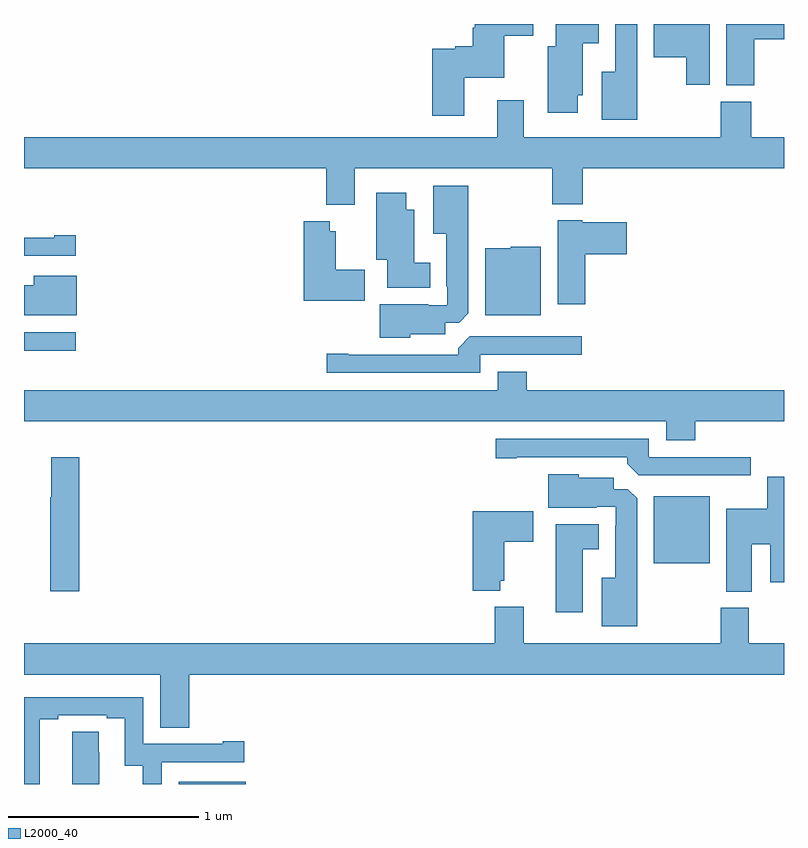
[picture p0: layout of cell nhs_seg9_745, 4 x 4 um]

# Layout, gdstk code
import gdstk
lib = gdstk.Library(unit=1e-6, precision=1e-09)
def R(c, l, rs):  # rectangles x0, y0, x1, y1
    for r in rs: c.add(gdstk.rectangle(r[:2], r[2:], *l))
def P(c, l, *ps):  # polygons
    for p in ps: c.add(gdstk.Polygon(p, *l))
L2000_40 = (2000, 40)

nhs_seg9_745 = lib.new_cell('nhs_seg9_745')
R(nhs_seg9_745, L2000_40, [(149.814,1206.5,150.166,1206.511), (152.315,1207.661,152.608,1208.014), (149,1208.781,149.272,1208.877)])
P(nhs_seg9_745, L2000_40, [(152.227,1210.5),(152.111,1210.5),(152.111,1210.249),(152.042,1210.249),(152.042,1209.995),(152.227,1209.995)],
  [(151.915,1210.125),(151.942,1210.125),(151.942,1210.4),(152.026,1210.4),(152.026,1210.5),(151.799,1210.5),(151.799,1210.384),(151.757,1210.384),(151.757,1210.032),(151.915,1210.032)],
  [(152.843,1210.42),(153,1210.42),(153,1210.5),(152.696,1210.5),(152.696,1210.177),(152.843,1210.177)],
  [(152.608,1210.5),(152.315,1210.5),(152.315,1210.325),(152.486,1210.325),(152.486,1210.179),(152.608,1210.179)],
  [(151.318,1210.217),(151.528,1210.217),(151.528,1210.438),(151.681,1210.438),(151.681,1210.5),(151.373,1210.5),(151.373,1210.481),(151.361,1210.481),(151.361,1210.382),(151.271,1210.382),(151.271,1210.369),(151.148,1210.369),(151.148,1210.017),(151.318,1210.017)],
  [(150.742,1209.74),(151.78,1209.74),(151.78,1209.551),(151.94,1209.551),(151.94,1209.74),(153,1209.74),(153,1209.904),(152.828,1209.904),(152.828,1210.092),(152.668,1210.092),(152.668,1209.904),(151.63,1209.904),(151.63,1210.099),(151.49,1210.099),(151.49,1209.904),(149,1209.904),(149,1209.74),(150.59,1209.74),(150.59,1209.548),(150.742,1209.548)],
  [(151.032,1208.867),(151.216,1208.867),(151.216,1208.928),(151.29,1208.928),(151.339,1208.977),(151.339,1209.649),(151.154,1209.649),(151.154,1209.395),(151.223,1209.395),(151.223,1209.121),(151.227,1209.121),(151.227,1209.021),(151.127,1209.021),(151.127,1209.025),(150.872,1209.025),(150.872,1208.849),(151.032,1208.849)],
  [(151.138,1209.244),(151.054,1209.244),(151.054,1209.523),(151.012,1209.523),(151.012,1209.613),(150.854,1209.613),(150.854,1209.26),(150.911,1209.26),(150.911,1209.113),(151.138,1209.113)],
  [(151.955,1209.287),(152.173,1209.287),(152.173,1209.457),(151.938,1209.457),(151.938,1209.466),(151.808,1209.466),(151.808,1209.024),(151.955,1209.024)],
  [(150.793,1209.207),(150.64,1209.207),(150.64,1209.409),(150.61,1209.409),(150.61,1209.463),(150.473,1209.463),(150.473,1209.044),(150.793,1209.044)],
  [(149.272,1209.388),(149.159,1209.388),(149.159,1209.375),(149,1209.375),(149,1209.279),(149.272,1209.279)],
  [(151.72,1209.328),(151.563,1209.328),(151.563,1209.319),(151.427,1209.319),(151.427,1208.966),(151.72,1208.966)],
  [(149.278,1209.175),(149.051,1209.175),(149.051,1209.124),(149,1209.124),(149,1208.966),(149.278,1208.966)],
  [(151.401,1208.76),(151.936,1208.76),(151.936,1208.856),(151.347,1208.856),(151.286,1208.794),(151.286,1208.76),(150.706,1208.76),(150.706,1208.765),(150.594,1208.765),(150.594,1208.664),(151.401,1208.664)],
  [(152.534,1208.408),(153,1208.408),(153,1208.572),(151.646,1208.572),(151.646,1208.671),(151.493,1208.671),(151.493,1208.572),(149,1208.572),(149,1208.408),(152.381,1208.408),(152.381,1208.309),(152.534,1208.309)],
  [(152.824,1208.22),(152.289,1208.22),(152.289,1208.316),(151.482,1208.316),(151.482,1208.215),(151.594,1208.215),(151.594,1208.22),(152.174,1208.22),(152.174,1208.186),(152.235,1208.124),(152.824,1208.124)],
  [(149.291,1208.221),(149.144,1208.221),(149.144,1208.008),(149.137,1208.008),(149.137,1207.515),(149.291,1207.515)],
  [(152.227,1208.003),(152.178,1208.052),(152.104,1208.052),(152.104,1208.113),(151.92,1208.113),(151.92,1208.131),(151.76,1208.131),(151.76,1207.955),(152.015,1207.955),(152.015,1207.959),(152.115,1207.959),(152.115,1207.859),(152.111,1207.859),(152.111,1207.585),(152.042,1207.585),(152.042,1207.331),(152.227,1207.331)],
  [(152.83,1207.763),(152.927,1207.763),(152.927,1207.563),(153,1207.563),(153,1208.116),(152.912,1208.116),(152.912,1207.948),(152.696,1207.948),(152.696,1207.513),(152.83,1207.513)],
  [(151.506,1207.571),(151.528,1207.571),(151.528,1207.774),(151.681,1207.774),(151.681,1207.936),(151.361,1207.936),(151.361,1207.517),(151.506,1207.517)],
  [(151.942,1207.736),(152.026,1207.736),(152.026,1207.867),(151.799,1207.867),(151.799,1207.404),(151.942,1207.404)],
  [(149.87,1207.076),(153,1207.076),(153,1207.24),(152.815,1207.24),(152.815,1207.428),(152.668,1207.428),(152.668,1207.24),(151.63,1207.24),(151.63,1207.432),(151.478,1207.432),(151.478,1207.24),(149,1207.24),(149,1207.076),(149.717,1207.076),(149.717,1206.796),(149.87,1206.796)],
  [(149.083,1206.841),(149.179,1206.841),(149.179,1206.861),(149.435,1206.861),(149.435,1206.846),(149.531,1206.846),(149.531,1206.595),(149.626,1206.595),(149.626,1206.5),(149.724,1206.5),(149.724,1206.615),(150.16,1206.615),(150.16,1206.724),(150.047,1206.724),(150.047,1206.711),(149.628,1206.711),(149.628,1206.957),(149,1206.957),(149,1206.5),(149.083,1206.5)],
  [(149.395,1206.668),(149.394,1206.668),(149.394,1206.776),(149.255,1206.776),(149.255,1206.5),(149.395,1206.5)])

lib.write_gds('nhs_seg9_745.gds')
